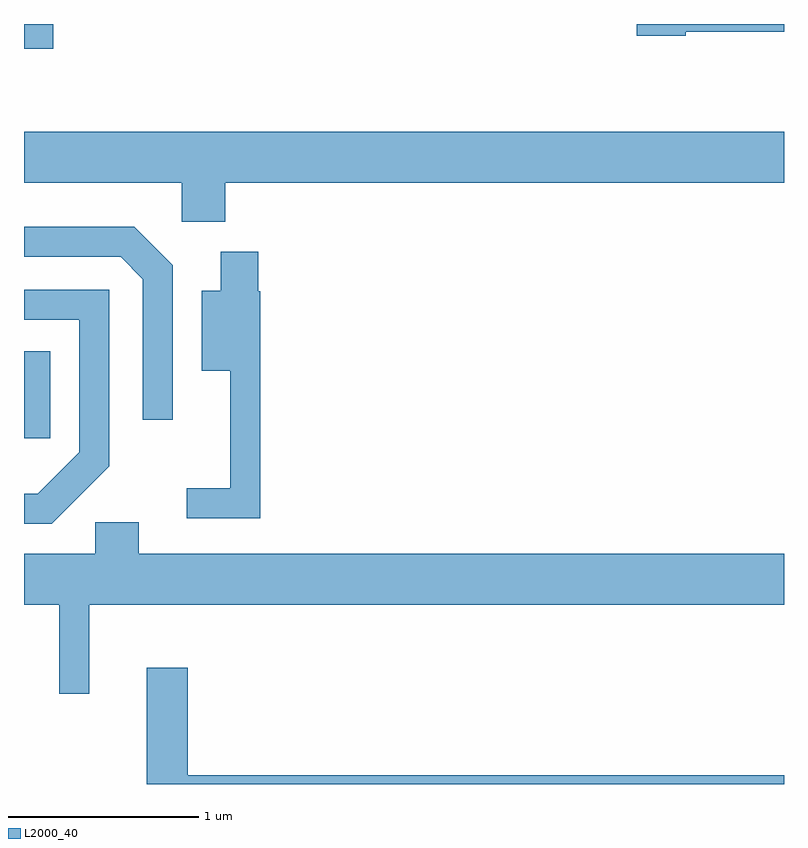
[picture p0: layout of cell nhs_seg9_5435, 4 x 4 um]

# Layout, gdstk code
import gdstk
lib = gdstk.Library(unit=1e-6, precision=1e-09)
def R(c, l, rs):  # rectangles x0, y0, x1, y1
    for r in rs: c.add(gdstk.rectangle(r[:2], r[2:], *l))
def P(c, l, *ps):  # polygons
    for p in ps: c.add(gdstk.Polygon(p, *l))
L2000_40 = (2000, 40)

nhs_seg9_5435 = lib.new_cell('nhs_seg9_5435')
R(nhs_seg9_5435, L2000_40, [(345.611,1988.251,345.749,1988.709), (345.611,1990.301,345.764,1990.432)])
P(nhs_seg9_5435, L2000_40, [(349.094,1990.391),(349.611,1990.391),(349.611,1990.432),(348.836,1990.432),(348.836,1990.371),(349.094,1990.371)],
  [(346.669,1989.596),(349.611,1989.596),(349.611,1989.864),(345.611,1989.864),(345.611,1989.596),(346.441,1989.596),(346.441,1989.391),(346.669,1989.391)],
  [(346.394,1989.162),(346.192,1989.364),(345.611,1989.364),(345.611,1989.206),(346.119,1989.206),(346.236,1989.089),(346.236,1988.348),(346.394,1988.348)],
  [(346.854,1989.025),(346.844,1989.025),(346.844,1989.234),(346.646,1989.234),(346.646,1989.029),(346.546,1989.029),(346.546,1988.606),(346.696,1988.606),(346.696,1987.989),(346.468,1987.989),(346.468,1987.831),(346.854,1987.831)],
  [(346.059,1988.104),(346.059,1989.034),(345.611,1989.034),(345.611,1988.876),(345.901,1988.876),(345.901,1988.177),(345.684,1987.959),(345.611,1987.959),(345.611,1987.801),(345.757,1987.801)],
  [(345.954,1987.376),(349.611,1987.376),(349.611,1987.644),(346.214,1987.644),(346.214,1987.809),(345.986,1987.809),(345.986,1987.644),(345.611,1987.644),(345.611,1987.376),(345.796,1987.376),(345.796,1986.908),(345.954,1986.908)],
  [(349.611,1986.479),(346.474,1986.479),(346.474,1987.044),(346.256,1987.044),(346.256,1986.432),(349.611,1986.432)])

lib.write_gds('nhs_seg9_5435.gds')
